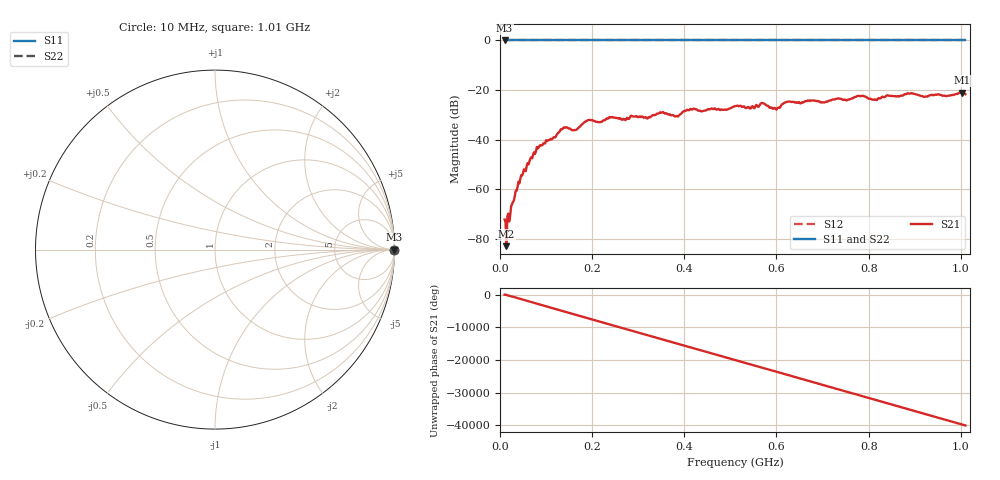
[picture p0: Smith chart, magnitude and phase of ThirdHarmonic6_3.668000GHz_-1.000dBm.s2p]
! 8/17/2025 12:23:30 PM
! C:\ANRITSUVNA\TEMP\TEMP.S2P
! CHANNEL.1
! TR.MEASUREMENT
! RAW.DATA
! RF.CORRECTION.OFF
! AVERAGING.OFF
! IF.BANDWIDTH: 5KHZ
! SWEEPTYPE:  FREQ.SWEEP(Linear)
! Reference Plane Port Info
! PORT:  PORT1  PORT2
! DISTANCE:  0  m  0  m
! TIME:  0  s  0  s
! PHASE.OFFSET:  0  deg.  0  deg.
! LOSS:  0  dB  0  dB
! REF.LOSS:  0  dB  0  dB
! REF.FREQ:  0  Hz  0  Hz
! Power Info
! POWER:  -20  dBm  -20  dBm
! EFF.POWER:  -20  dBm  -20  dBm
! SOURCE.ATTEN:  0  dB  0  dB
! TEST.ATTEN:  0  dB  0  dB
# GHZ S RI R 50.0
! FREQ.GHZ  S11RE  S11IM  S21RE  S21IM  S12RE  S12IM  S22RE  S22IM
!; PortSelection: Port_12
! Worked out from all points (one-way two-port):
!   501 points, 10 MHz to 1.01 GHz, reference 50 ohm
!   highest |S21| = -20.99 dB at 1.002 GHz (marker M1); lowest = -83.0 dB at 14 MHz (marker M2)
!   lowest |S11| = 0.0 dB at 10 MHz (marker M3)
!   |S11| at or under -10 dB: nowhere
!   |S22| runs from 0.0 to 0.0 dB; largest |S21 - S12| = 1.1
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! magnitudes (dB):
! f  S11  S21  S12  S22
! 10 MHz  0.0  -72.2  0.0  0.0
! 14 MHz  0.0  -83.0  0.0  0.0
! 18 MHz  0.0  -69.8  0.0  0.0
! 36 MHz  0.0  -60.6  0.0  0.0
! 48 MHz  0.0  -54.5  0.0  0.0
! 84 MHz  0.0  -43.2  0.0  0.0
! 136 MHz  0.0  -35.6  0.0  0.0
! 162 MHz  0.0  -36.2  0.0  0.0
! 178 MHz  0.0  -33.8  0.0  0.0
! 194 MHz  0.0  -32.0  0.0  0.0
! 322 MHz  0.0  -31.0  0.0  0.0
! 344 MHz  0.0  -29.4  0.0  0.0
! 384 MHz  0.0  -30.5  0.0  0.0
! 416 MHz  0.0  -27.9  0.0  0.0
! 510 MHz  0.0  -26.5  0.0  0.0
! 570 MHz  0.0  -25.3  0.0  0.0
! 596 MHz  0.0  -27.2  0.0  0.0
! 624 MHz  0.0  -24.7  0.0  0.0
! 678 MHz  0.0  -24.2  0.0  0.0
! 844 MHz  0.0  -22.3  0.0  0.0
! 1.002 GHz  0.0  -21.0  0.0  0.0
! 1.01 GHz  0.0  -21.7  0.0  0.0
